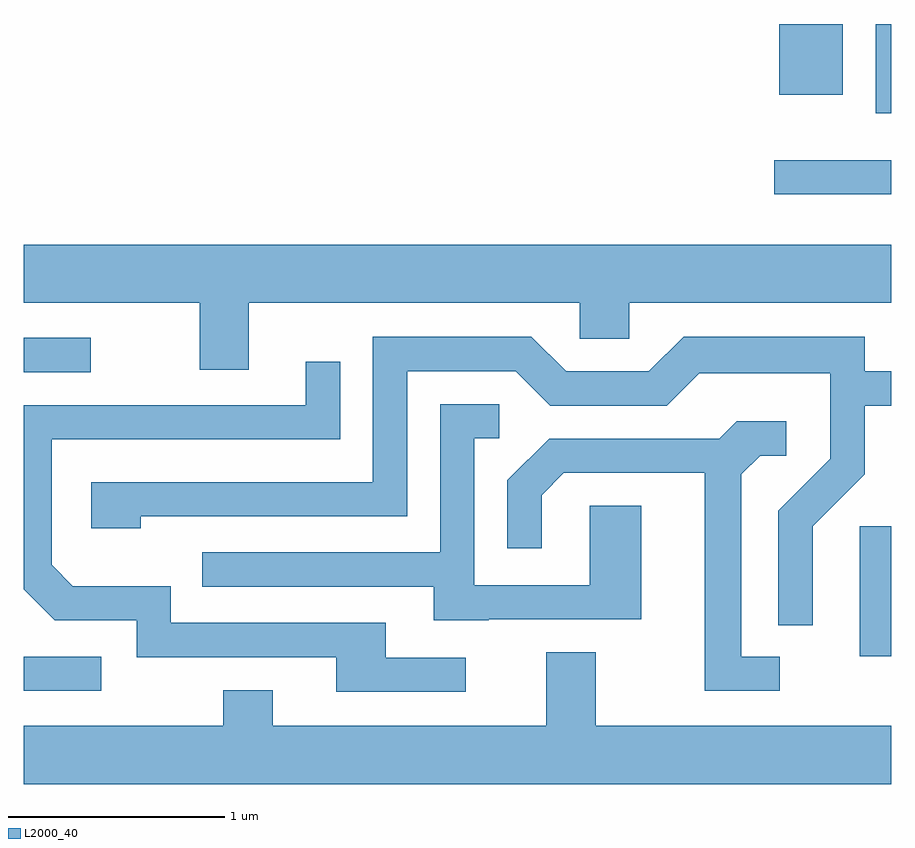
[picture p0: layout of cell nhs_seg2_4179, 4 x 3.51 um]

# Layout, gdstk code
import gdstk
lib = gdstk.Library(unit=1e-6, precision=1e-09)
def R(c, l, rs):  # rectangles x0, y0, x1, y1
    for r in rs: c.add(gdstk.rectangle(r[:2], r[2:], *l))
def P(c, l, *ps):  # polygons
    for p in ps: c.add(gdstk.Polygon(p, *l))
L2000_40 = (2000, 40)

nhs_seg2_4179 = lib.new_cell('nhs_seg2_4179')
R(nhs_seg2_4179, L2000_40, [(307.611,1068.726,307.968,1068.884), (311.466,1068.886,311.611,1069.484), (307.611,1070.196,307.918,1070.354), (311.073,1071.016,311.611,1071.174), (311.541,1071.391,311.611,1071.802), (311.096,1071.476,311.389,1071.802)])
P(nhs_seg2_4179, L2000_40, [(308.649,1070.516),(310.176,1070.516),(310.176,1070.351),(310.404,1070.351),(310.404,1070.516),(311.611,1070.516),(311.611,1070.784),(307.611,1070.784),(307.611,1070.516),(308.421,1070.516),(308.421,1070.206),(308.649,1070.206)],
  [(311.249,1069.484),(311.489,1069.724),(311.489,1070.041),(311.611,1070.041),(311.611,1070.199),(311.489,1070.199),(311.489,1070.359),(310.654,1070.359),(310.494,1070.199),(310.112,1070.199),(309.952,1070.359),(309.221,1070.359),(309.221,1069.689),(307.921,1069.689),(307.921,1069.476),(308.149,1069.476),(308.149,1069.531),(309.379,1069.531),(309.379,1070.201),(309.879,1070.201),(310.039,1070.041),(310.577,1070.041),(310.727,1070.191),(311.331,1070.191),(311.331,1069.797),(311.091,1069.557),(311.091,1069.028),(311.249,1069.028)],
  [(309.648,1068.879),(309.279,1068.879),(309.279,1069.039),(308.289,1069.039),(308.289,1069.209),(307.837,1069.209),(307.739,1069.307),(307.739,1069.886),(309.069,1069.886),(309.069,1070.243),(308.911,1070.243),(308.911,1070.044),(307.611,1070.044),(307.611,1069.194),(307.754,1069.051),(308.131,1069.051),(308.131,1068.881),(309.051,1068.881),(309.051,1068.721),(309.648,1068.721)],
  [(309.755,1069.056),(310.459,1069.056),(310.459,1069.579),(310.221,1069.579),(310.221,1069.214),(309.689,1069.214),(309.689,1069.891),(309.803,1069.891),(309.803,1070.049),(309.531,1070.049),(309.531,1069.364),(308.433,1069.364),(308.433,1069.206),(309.501,1069.206),(309.501,1069.051),(309.755,1069.051)],
  [(311.098,1068.884),(310.919,1068.884),(310.919,1069.724),(311.007,1069.811),(311.128,1069.811),(311.128,1069.969),(310.899,1069.969),(310.819,1069.889),(310.034,1069.889),(309.841,1069.697),(309.841,1069.383),(309.999,1069.383),(309.999,1069.629),(310.102,1069.731),(310.751,1069.731),(310.751,1068.726),(311.098,1068.726)],
  [(311.611,1068.564),(310.249,1068.564),(310.249,1068.904),(310.021,1068.904),(310.021,1068.564),(308.759,1068.564),(308.759,1068.729),(308.531,1068.729),(308.531,1068.564),(307.611,1068.564),(307.611,1068.296),(311.611,1068.296)])

lib.write_gds('nhs_seg2_4179.gds')
